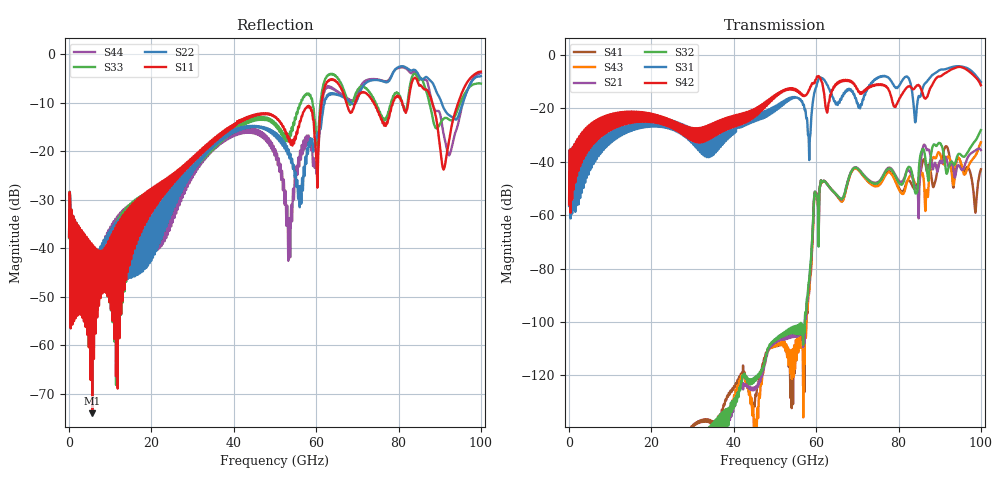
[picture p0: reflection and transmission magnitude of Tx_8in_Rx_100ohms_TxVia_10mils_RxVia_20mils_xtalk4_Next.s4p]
! Info: Touchstone file created by Circ.  Input file=Tx_8in_Rx_100ohms_TxVia_10mils_RxVia_20mils.circ
# Hz S RI R 50
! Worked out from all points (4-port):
!   10000 points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, 10 MHz to 100 GHz, reference 50 ohm
!   strongest paths, dB at 10 MHz, 25.01 GHz, 50.01 GHz, 75.01 GHz, 100 GHz:
!     S42: -56.0, -24.5, -15.9, -11.1, -11.3
!     S31: -56.6, -24.7, -21.0, -8.4, -10.1
!     S32: -, -150.5, -106.8, -47.9, -28.1
!     S21: -, -158.7, -107.9, -47.5, -35.6
!     S43: -155.3, -156.9, -108.7, -49.1, -32.7
!     S41: -154.6, -153.2, -109.1, -48.8, -42.8
!   lowest |S11| = -74.0 dB at 5.62 GHz (marker M1), VSWR 1.00, Z = 50 - j0.0028 ohm
!   |S11| at or under -10 dB: start of sweep to 61.27 GHz; 73.98 GHz to 78.63 GHz (4.654 GHz wide, 6.1 % of centre); 88.18 GHz to 94.5 GHz (6.329 GHz wide, 6.93 % of centre) (the widest 3 of 5)
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1e7  0.0119 0.00543  5e-12 -6.59e-12  0.000205 0.00147  -8.34e-09 1.66e-08
     5e-12 -6.59e-12  0.0122 0.00547  3.35e-12 -7.72e-12  0.000487 0.00151
     0.000205 0.00147  3.35e-12 -7.72e-12  0.0114 0.00567  -5.9e-09 1.6e-08
     -8.34e-09 1.66e-08  0.000487 0.00151  -5.9e-09 1.6e-08  0.0121 0.00548
5.62e9  -0.000197 -2.8e-05  -1.52e-10 -2.92e-10  0.00737 0.0351  1.45e-10 1.96e-10
        -1.52e-10 -2.92e-10  0.00652 0.00235  -6.48e-10 -3.71e-10  0.0171 0.0362
        0.00737 0.0351  -6.48e-10 -3.71e-10  -3.72e-05 0.000219  2.95e-10 7.85e-11
        1.45e-10 1.96e-10  0.0171 0.0362  2.95e-10 7.85e-11  0.00587 0.00247
5.804e10  0.1619 -0.2358  2.81e-05 2.48e-05  0.0182 0.0258  1.56e-05 2.41e-05
          2.81e-05 2.48e-05  -0.0662 0.0728  3.32e-05 2.65e-05  0.1171 0.1635
          0.0182 0.0258  3.32e-05 2.65e-05  0.2562 -0.292  1.74e-05 2.49e-05
          1.56e-05 2.41e-05  0.1171 0.1635  1.74e-05 2.49e-05  -0.1283 -0.0217
6.154e10  0.3213 -0.1759  -0.00409 -0.00104  0.3202 0.1793  -0.00409 -0.000951
          -0.00409 -0.00104  -0.1575 -0.1781  -0.00412 -0.000891  0.0853 -0.2728
          0.3202 0.1793  -0.00412 -0.000891  0.3518 -0.2522  -0.00413 -0.000784
          -0.00409 -0.000951  0.0853 -0.2728  -0.00413 -0.000784  -0.2559 -0.1964
8.042e10  0.1788 0.304  0.000421 0.00423  -0.0415 -0.2844  0.000637 0.00287
          0.000421 0.00423  -0.0885 -0.7422  0.000831 0.00369  -0.155 0.0397
          -0.0415 -0.2844  0.000831 0.00369  0.175 0.3217  0.000891 0.00259
          0.000637 0.00287  -0.155 0.0397  0.000891 0.00259  -0.0559 -0.7254
9.097e10  0.00552 0.0646  0.00801 0.00819  0.5365 -0.00845  0.0154 -0.0045
          0.00801 0.00819  0.1667 0.2219  -0.00769 0.0117  0.4393 -0.00898
          0.5365 -0.00845  -0.00769 0.0117  0.1698 0.135  0.00221 0.00865
          0.0154 -0.0045  0.4393 -0.00898  0.00221 0.00865  0.0873 0.1204
1e11  -0.6575 0.0574  -0.00842 0.0142  0.0546 0.3088  0.00704 0.00163
      -0.00842 0.0142  -0.5911 0.0386  -0.0218 -0.0327  0.099 0.2526
      0.0546 0.3088  -0.0218 -0.0327  -0.4938 0.0605  -0.0208 0.0104
      0.00704 0.00163  0.099 0.2526  -0.0208 0.0104  -0.6322 0.0866
